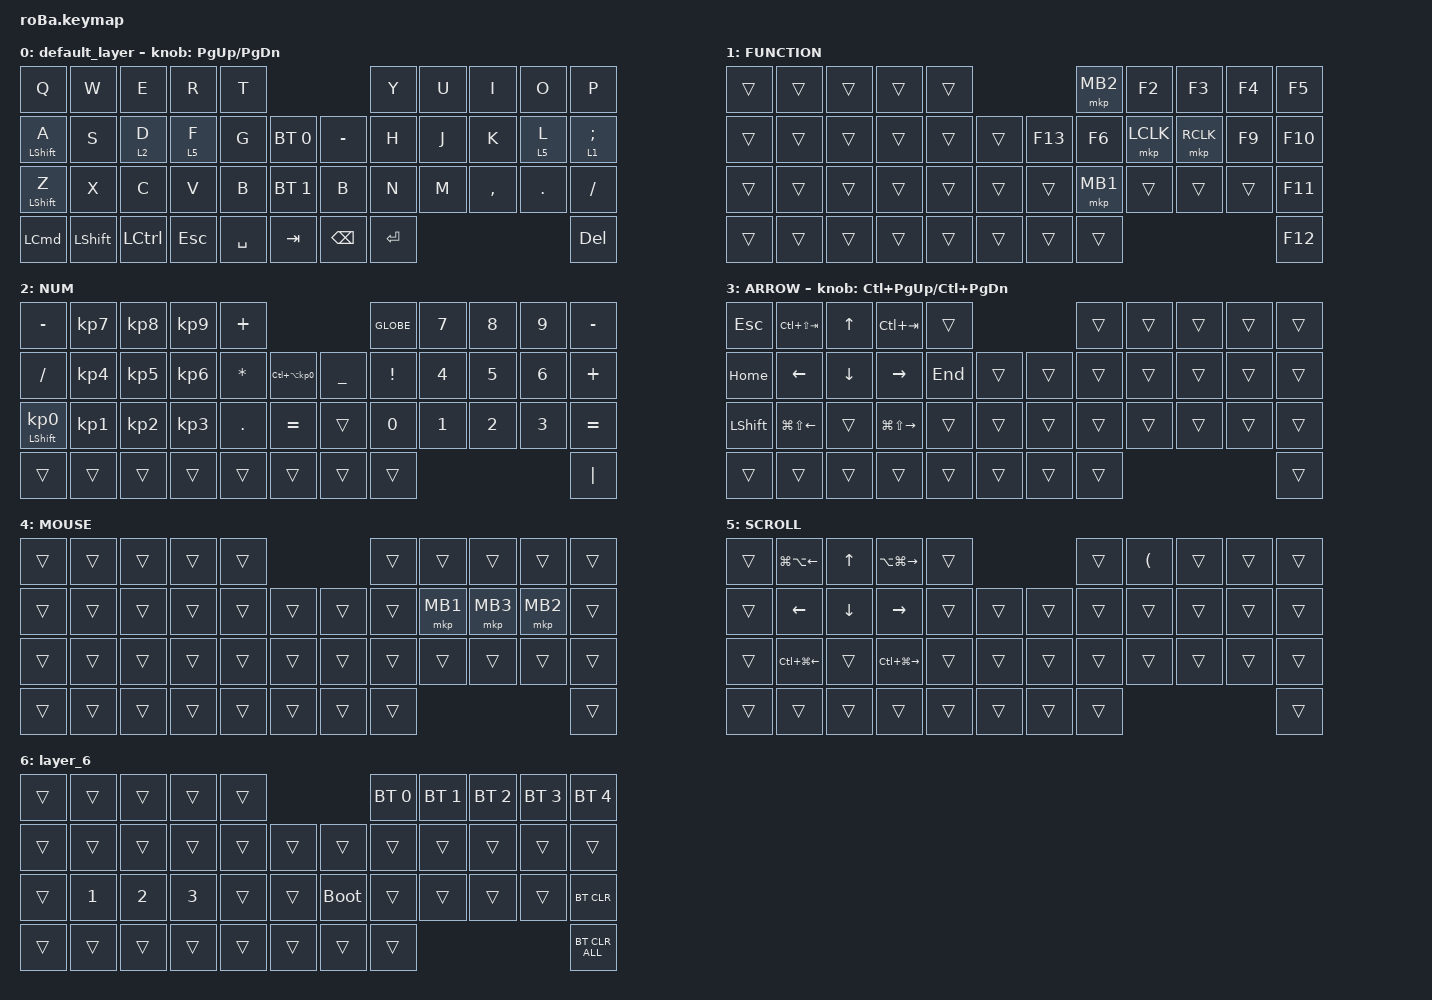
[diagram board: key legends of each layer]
#include <behaviors.dtsi>
#include <dt-bindings/zmk/bt.h>
#include <dt-bindings/zmk/keys.h>
#include <dt-bindings/zmk/pointing.h>

&mt {
    flavor = "balanced";
    quick-tap-ms = <0>;
};

&trackball {
    automouse-layer = <4>;
    scroll-layers = <5>;

    // arrows {
    //     layers = <3>;
    //     bindings =
    //         <&kp RIGHT_ARROW>,
    //         <&kp LEFT_ARROW>,
    //         <&kp UP_ARROW>,
    //         <&kp DOWN_ARROW>;
    //     tick = <10>;
    //     wait-ms = <5>;
    //     tap-ms = <5>;
    // };
};

/ {
    combos {
        compatible = "zmk,combos";

        tab {
            bindings = <&kp TAB>;
            key-positions = <11 12>;
        };

        shift_tab {
            bindings = <&kp LS(TAB)>;
            key-positions = <12 13>;
        };

        muhennkann {
            bindings = <&to_layer_0 INT_MUHENKAN>;
            key-positions = <11 10>;
        };

        double_quotation {
            bindings = <&kp DOUBLE_QUOTES>;
            key-positions = <20 21>;
        };

        eq {
            bindings = <&kp EQUAL>;
            key-positions = <24 25>;
        };
    };

    macros {
        to_layer_0: to_layer_0 {
            compatible = "zmk,behavior-macro-one-param";
            #binding-cells = <1>;
            bindings = <&to 0 &macro_param_1to1 &kp MACRO_PLACEHOLDER>;
            label = "TO_LAYER_0";
        };
    };

    behaviors {
        lt_to_layer_0: lt_to_layer_0 {
            compatible = "zmk,behavior-hold-tap";
            label = "LAYER_TAP_TO_0";
            bindings = <&mo>, <&to_layer_0>;

            #binding-cells = <2>;
            tapping-term-ms = <200>;
        };
    };

    keymap {
        compatible = "zmk,keymap";

        default_layer {
            bindings = <
&kp Q             &kp W           &kp E             &kp R       &kp T                                       &kp Y       &kp U  &kp I      &kp O    &kp P
&mt LEFT_SHIFT A  &kp S           &lt 2 D           &lt 5 F     &kp G      &bt BT_SEL 0      &kp MINUS      &kp H       &kp J  &kp K      &lt 5 L  &lt 1 SEMICOLON
&mt LEFT_SHIFT Z  &kp X           &kp C             &kp V       &kp B      &bt BT_SEL 1      &kp B          &kp N       &kp M  &kp COMMA  &kp DOT  &kp SLASH
&kp LEFT_COMMAND  &kp LEFT_SHIFT  &kp LEFT_CONTROL  &kp ESCAPE  &kp SPACE  &kp TAB           &kp BACKSPACE  &kp RETURN                             &kp DEL
            >;

            sensor-bindings = <&inc_dec_kp PG_UP PAGE_DOWN>;
        };

        FUNCTION {
            bindings = <
&trans  &trans  &trans  &trans  &trans                       &mkp MB2  &kp F2     &kp F3     &kp F4  &kp F5
&trans  &trans  &trans  &trans  &trans  &trans      &kp F13  &kp F6    &mkp LCLK  &mkp RCLK  &kp F9  &kp F10
&trans  &trans  &trans  &trans  &trans  &trans      &trans   &mkp MB1  &trans     &trans     &trans  &kp F11
&trans  &trans  &trans  &trans  &trans  &trans      &trans   &trans                                  &kp F12
            >;
        };

        NUM {
            bindings = <
&kp MINUS                   &kp KP_NUMBER_7  &kp KP_NUMBER_8  &kp KP_NUMBER_9  &kp PLUS                                                   &kp GLOBE        &kp NUMBER_7  &kp NUMBER_8  &kp NUMBER_9  &kp MINUS
&kp SLASH                   &kp KP_NUMBER_4  &kp KP_NUMBER_5  &kp KP_NUMBER_6  &kp ASTERISK  &kp LC(LA(KP_NUMBER_0))      &kp UNDERSCORE  &kp EXCLAMATION  &kp NUMBER_4  &kp NUMBER_5  &kp NUMBER_6  &kp PLUS
&mt LEFT_SHIFT KP_NUMBER_0  &kp KP_NUMBER_1  &kp KP_NUMBER_2  &kp KP_NUMBER_3  &kp PERIOD    &kp EQUAL                    &trans          &kp NUMBER_0     &kp NUMBER_1  &kp NUMBER_2  &kp NUMBER_3  &kp EQUAL
&trans                      &trans           &trans           &trans           &trans        &trans                       &trans          &trans                                                     &kp PIPE
            >;
        };

        ARROW {
            bindings = <
&kp ESCAPE      &kp LC(LS(TAB))         &kp UP_ARROW    &kp LC(TAB)              &trans                       &trans  &trans  &trans  &trans  &trans
&kp HOME        &kp LEFT_ARROW          &kp DOWN_ARROW  &kp RIGHT_ARROW          &kp END  &trans      &trans  &trans  &trans  &trans  &trans  &trans
&kp LEFT_SHIFT  &kp LG(LS(LEFT_ARROW))  &trans          &kp LG(LS(RIGHT_ARROW))  &trans   &trans      &trans  &trans  &trans  &trans  &trans  &trans
&trans          &trans                  &trans          &trans                   &trans   &trans      &trans  &trans                          &trans
            >;

            sensor-bindings = <&inc_dec_kp LC(PAGE_UP) LC(PAGE_DOWN)>;
        };

        MOUSE {
            bindings = <
&trans  &trans  &trans  &trans  &trans                      &trans  &trans    &trans    &trans    &trans
&trans  &trans  &trans  &trans  &trans  &trans      &trans  &trans  &mkp MB1  &mkp MB3  &mkp MB2  &trans
&trans  &trans  &trans  &trans  &trans  &trans      &trans  &trans  &trans    &trans    &trans    &trans
&trans  &trans  &trans  &trans  &trans  &trans      &trans  &trans                                &trans
            >;
        };

        SCROLL {
            bindings = <
&trans  &kp LG(LA(LEFT_ARROW))  &kp UP_ARROW    &kp LA(LG(RIGHT))  &trans                      &trans  &kp LEFT_PARENTHESIS  &trans  &trans  &trans
&trans  &kp LEFT_ARROW          &kp DOWN_ARROW  &kp RIGHT          &trans  &trans      &trans  &trans  &trans                &trans  &trans  &trans
&trans  &kp LC(LG(LEFT_ARROW))  &trans          &kp LC(LG(RIGHT))  &trans  &trans      &trans  &trans  &trans                &trans  &trans  &trans
&trans  &trans                  &trans          &trans             &trans  &trans      &trans  &trans                                        &trans
            >;
        };

        layer_6 {
            bindings = <
&trans  &trans        &trans        &trans        &trans                           &bt BT_SEL 0  &bt BT_SEL 1  &bt BT_SEL 2  &bt BT_SEL 3  &bt BT_SEL 4
&trans  &trans        &trans        &trans        &trans  &trans      &trans       &trans        &trans        &trans        &trans        &trans
&trans  &kp NUMBER_1  &kp NUMBER_2  &kp NUMBER_3  &trans  &trans      &bootloader  &trans        &trans        &trans        &trans        &bt BT_CLR
&trans  &trans        &trans        &trans        &trans  &trans      &trans       &trans                                                  &bt BT_CLR_ALL
            >;
        };
    };
};
